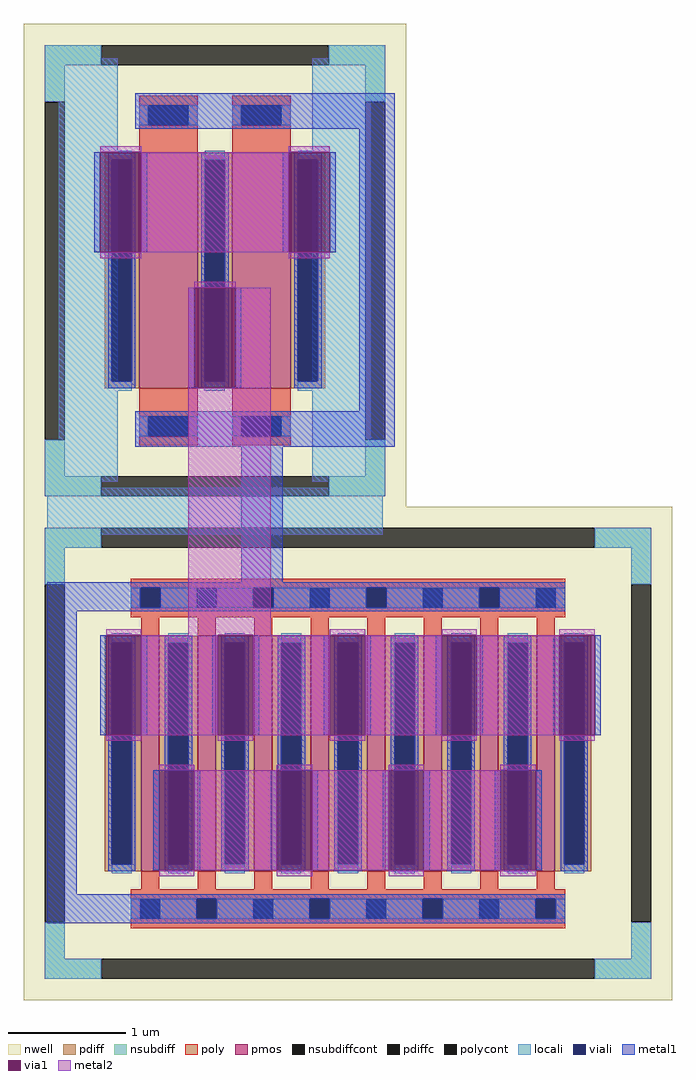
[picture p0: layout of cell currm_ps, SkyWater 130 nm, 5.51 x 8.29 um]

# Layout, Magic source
magic
tech sky130A
magscale 1 2
<< nwell >>
rect 132 600 870 666
rect 150 590 180 600
rect 342 590 372 600
rect 534 590 564 600
rect 726 592 756 600
rect 246 138 276 152
rect 438 138 468 152
rect 630 138 660 152
rect 822 138 852 152
rect 132 72 870 138
<< poly >>
rect 132 650 870 666
rect 132 616 148 650
rect 182 616 340 650
rect 374 616 532 650
rect 566 616 724 650
rect 758 616 870 650
rect 132 600 870 616
rect 150 590 180 600
rect 342 590 372 600
rect 534 590 564 600
rect 726 592 756 600
rect 246 138 276 152
rect 438 138 468 152
rect 630 138 660 152
rect 822 138 852 152
rect 132 122 870 138
rect 132 88 244 122
rect 278 88 436 122
rect 470 88 628 122
rect 662 88 820 122
rect 854 88 870 122
rect 132 72 870 88
<< polycont >>
rect 148 616 182 650
rect 340 616 374 650
rect 532 616 566 650
rect 724 616 758 650
rect 244 88 278 122
rect 436 88 470 122
rect 628 88 662 122
rect 820 88 854 122
<< locali >>
rect 10 830 110 1550
rect 440 830 540 1550
rect -10 740 560 820
rect 132 616 148 650
rect 182 616 340 650
rect 374 616 532 650
rect 566 616 724 650
rect 758 616 870 650
rect 132 88 244 122
rect 278 88 436 122
rect 470 88 628 122
rect 662 88 820 122
rect 854 88 870 122
<< viali >>
rect 148 616 182 650
rect 340 616 374 650
rect 532 616 566 650
rect 724 616 758 650
rect 244 88 278 122
rect 436 88 470 122
rect 628 88 662 122
rect 820 88 854 122
<< metal1 >>
rect 140 1430 580 1490
rect 70 1220 80 1390
rect 150 1220 160 1390
rect 390 1220 400 1390
rect 470 1220 480 1390
rect 230 990 240 1160
rect 310 990 320 1160
rect 520 950 580 1430
rect 140 890 580 950
rect 320 660 390 890
rect -10 650 870 660
rect -10 616 148 650
rect 182 616 340 650
rect 374 616 532 650
rect 566 616 724 650
rect 758 616 870 650
rect -10 610 870 616
rect -10 130 40 610
rect 80 400 90 570
rect 150 400 160 570
rect 270 400 280 570
rect 340 400 350 570
rect 460 400 470 570
rect 530 400 540 570
rect 650 400 660 570
rect 720 400 730 570
rect 850 400 860 570
rect 920 400 930 570
rect 170 170 180 340
rect 240 170 250 340
rect 370 170 380 340
rect 440 170 450 340
rect 560 170 570 340
rect 630 170 640 340
rect 750 170 760 340
rect 820 170 830 340
rect -10 122 870 130
rect -10 88 244 122
rect 278 88 436 122
rect 470 88 628 122
rect 662 88 820 122
rect 854 88 870 122
rect -10 80 870 88
<< via1 >>
rect 80 1220 150 1390
rect 400 1220 470 1390
rect 240 990 310 1160
rect 90 400 150 570
rect 280 400 340 570
rect 470 400 530 570
rect 660 400 720 570
rect 860 400 920 570
rect 180 170 240 340
rect 380 170 440 340
rect 570 170 630 340
rect 760 170 820 340
<< metal2 >>
rect 80 1390 150 1400
rect 400 1390 470 1400
rect 150 1220 400 1390
rect 80 1210 150 1220
rect 400 1210 470 1220
rect 240 1160 310 1170
rect 230 990 240 1160
rect 310 990 370 1160
rect 90 570 150 580
rect 230 570 370 990
rect 470 570 530 580
rect 660 570 720 580
rect 860 570 920 580
rect 150 400 280 570
rect 340 400 470 570
rect 530 400 660 570
rect 720 400 860 570
rect 90 390 150 400
rect 280 390 340 400
rect 470 390 530 400
rect 660 390 720 400
rect 860 390 920 400
rect 180 340 240 350
rect 380 340 440 350
rect 570 340 630 350
rect 760 340 820 350
rect 240 170 380 340
rect 440 170 570 340
rect 630 170 760 340
rect 180 160 240 170
rect 380 160 440 170
rect 570 160 630 170
rect 760 160 820 170
use sky130_fd_pr__pfet_01v8_PD4XN5  sky130_fd_pr__pfet_01v8_PD4XN5_0
transform 1 0 275 0 1 1189
box -325 -419 325 419
use sky130_fd_pr__pfet_01v8_U4PWGH  sky130_fd_pr__pfet_01v8_U4PWGH_0
transform 1 0 501 0 1 369
box -551 -419 551 419
<< end >>

# cell sky130_fd_pr__pfet_01v8_PD4XN5: kit device sky130_fd_pr__pfet_01v8, w 2 l 0.5 m 1 nf 2 diffcov 100 polycov 100 guard 1 glc 1 grc 1 gtc 1 gbc 1 tbcov 100 rlcov 100 topc 1 botc 1 poverlap 0 doverlap 1 lmin 0.15 wmin 0.42 compatible {sky130_fd_pr__pfet_01v8 sky130_fd_pr__pfet_01v8_lvt sky130_fd_pr__pfet_01v8_hvt sky130_fd_pr__pfet_g5v0d10v5} full_metal 1 viasrc 100 viadrn 100 viagate 100 viagb 0 viagr 0 viagl 0 viagt 0

# cell sky130_fd_pr__pfet_01v8_U4PWGH: kit device sky130_fd_pr__pfet_01v8, w 2 l 0.15 m 1 nf 8 diffcov 100 polycov 100 guard 1 glc 1 grc 1 gtc 1 gbc 1 tbcov 100 rlcov 100 topc 1 botc 1 poverlap 0 doverlap 1 lmin 0.15 wmin 0.42 compatible {sky130_fd_pr__pfet_01v8 sky130_fd_pr__pfet_01v8_lvt sky130_fd_pr__pfet_01v8_hvt sky130_fd_pr__pfet_g5v0d10v5} full_metal 1 viasrc 100 viadrn 100 viagate 100 viagb 0 viagr 0 viagl 0 viagt 0
